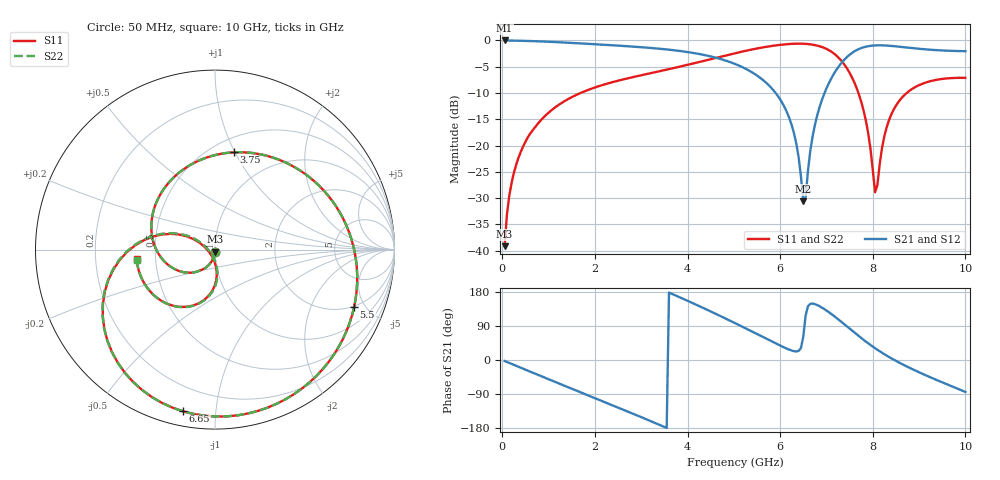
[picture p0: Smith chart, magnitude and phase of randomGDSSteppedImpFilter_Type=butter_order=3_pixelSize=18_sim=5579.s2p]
! freq	dB(S11)	phase(S11)	dB(S12)	phase(S12)
!  dB(S21)	phase(S21)	dB(S22)	phase(S22)
!S-par simulation data
#  GHz  S  DB  R 50
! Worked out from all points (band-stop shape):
!   200 points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, 50 MHz to 10 GHz, reference 50 ohm
!   highest |S21| = 0.00 dB at 50 MHz (marker M1); lowest = -30.6 dB at 6.5 GHz (marker M2)
!   |S21| within 3 dB of the highest: start of sweep to 4.482 GHz; 7.463 GHz to end of sweep
!   lowest |S11| = -39.2 dB at 50 MHz (marker M3), VSWR 1.02, Z = 49.9 - j1.1 ohm
!   |S11| at or under -10 dB: start of sweep to 1.691 GHz; 7.689 GHz to 8.733 GHz (1.044 GHz wide, 12.7 % of centre)
!   |S22| runs from -39.2 to -0.6 dB; largest |S21 - S12| = 0
!   S11 on the Smith chart (normalised r, x): 50 MHz: 1.00, -0.02; 3.75 GHz: 0.64, +0.99; 5.5 GHz: 1.93, -4.18; 6.65 GHz: 0.07, -0.82; 10 GHz: 0.39, -0.05
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0.05  -39.16 -92.3  -0.00 -2.6  -0.00 -2.6  -39.16 -92.3
0.2  -27.14 -100.3  -0.03 -10.3  -0.03 -10.3  -27.14 -100.3
0.5  -19.27 -116.1  -0.09 -25.5  -0.09 -25.5  -19.27 -116.0
1.75  -9.78 -179.0  -0.59 -88.1  -0.59 -88.1  -9.78 -178.9
2.65  -7.34 136.1  -1.07 -132.9  -1.07 -132.9  -7.34 136.2
3.4  -5.85 97.6  -1.58 -171.5  -1.58 -171.5  -5.85 97.7
3.75  -5.16 78.9  -1.91 169.9  -1.91 169.9  -5.16 79.1
4.45  -3.67 40.1  -2.94 131.0  -2.94 131.0  -3.67 40.2
5.05  -2.38 5.0  -4.56 95.9  -4.56 95.9  -2.38 5.1
5.5  -1.53 -22.5  -6.68 68.6  -6.68 68.6  -1.53 -22.5
6.2  -0.68 -68.1  -14.83 27.1  -14.83 27.1  -0.68 -68.1
6.4  -0.61 -82.2  -22.31 24.1  -22.31 24.1  -0.61 -82.3
6.5  -0.63 -89.6  -30.63 62.0  -30.63 62.0  -0.63 -89.7
6.65  -0.74 -101.1  -21.09 148.2  -21.09 148.2  -0.74 -101.3
6.7  -0.80 -105.1  -18.29 148.9  -18.29 148.9  -0.80 -105.3
7.2  -2.78 -149.4  -5.80 112.6  -5.80 112.6  -2.78 -149.7
7.65  -9.04 168.1  -1.84 67.8  -1.84 67.8  -9.06 167.3
7.9  -17.60 154.0  -1.10 44.1  -1.10 44.1  -17.69 152.0
8.05  -28.91 -161.1  -0.95 31.1  -0.95 31.1  -30.06 -163.1
8.35  -15.19 -88.0  -1.01 8.0  -1.01 8.0  -15.22 -86.7
9.15  -7.99 -129.8  -1.71 -40.7  -1.71 -40.7  -8.00 -129.4
10  -7.13 -172.9  -2.04 -84.2  -2.04 -84.2  -7.13 -172.6
